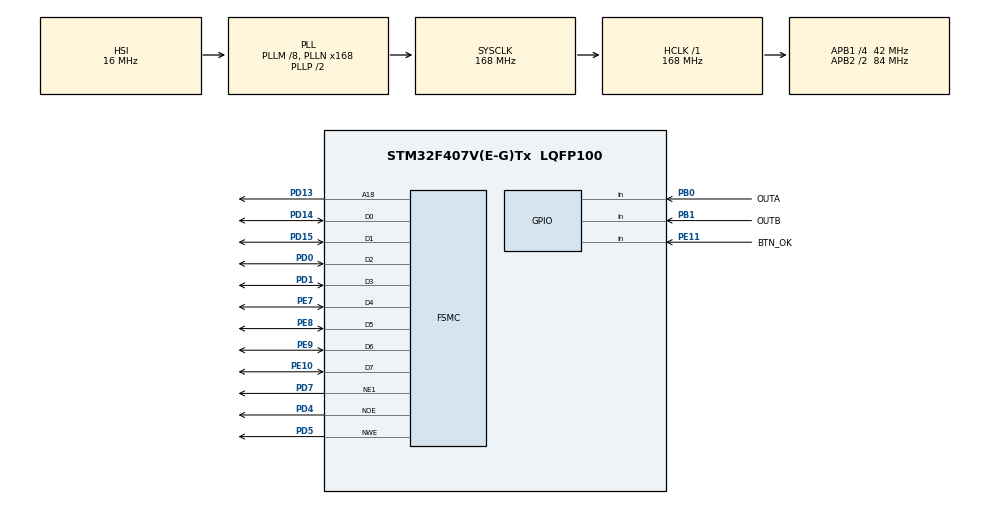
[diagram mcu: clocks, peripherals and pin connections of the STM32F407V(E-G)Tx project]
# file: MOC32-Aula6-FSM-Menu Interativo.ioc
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FSMC.AddressSetupTime1=6
FSMC.DataSetupTime1=6
Mcu.Family=STM32F4
Mcu.Name=STM32F407V(E-G)Tx
Mcu.Package=LQFP100
NVIC.PriorityGroup=NVIC_PRIORITYGROUP_4
PB0.GPIO_Label=OUTA
PB0.Signal=GPIO_Input
PB1.GPIO_Label=OUTB
PB1.Signal=GPIO_Input
PD0.Mode=8b-d1
PD0.Signal=FSMC_D2
PD1.Mode=8b-d1
PD1.Signal=FSMC_D3
PD13.Mode=A18_1
PD13.Signal=FSMC_A18
PD14.Mode=8b-d1
PD14.Signal=FSMC_D0
PD15.Mode=8b-d1
PD15.Signal=FSMC_D1
PD4.Mode=Lcd1
PD4.Signal=FSMC_NOE
PD5.Mode=Lcd1
PD5.Signal=FSMC_NWE
PD7.Mode=NorPsramChipSelect1_1
PD7.Signal=FSMC_NE1
PE10.Mode=8b-d1
PE10.Signal=FSMC_D7
PE11.GPIO_Label=BTN_OK
PE11.Signal=GPIO_Input
PE7.Mode=8b-d1
PE7.Signal=FSMC_D4
PE8.Mode=8b-d1
PE8.Signal=FSMC_D5
PE9.Mode=8b-d1
PE9.Signal=FSMC_D6
PH0-OSC_IN.Mode=HSE-External-Oscillator
PH0-OSC_IN.Signal=RCC_OSC_IN
PH1-OSC_OUT.Mode=HSE-External-Oscillator
PH1-OSC_OUT.Signal=RCC_OSC_OUT
ProjectManager.HeapSize=0x200
ProjectManager.StackSize=0x400
ProjectManager.TargetToolchain=STM32CubeIDE
RCC.48MHZClocksFreq_Value=84000000
RCC.AHBFreq_Value=168000000
RCC.APB1CLKDivider=RCC_HCLK_DIV4
RCC.APB1Freq_Value=42000000
RCC.APB1TimFreq_Value=84000000
RCC.APB2CLKDivider=RCC_HCLK_DIV2
RCC.APB2Freq_Value=84000000
RCC.APB2TimFreq_Value=168000000
RCC.CortexFreq_Value=168000000
RCC.HCLKFreq_Value=168000000
RCC.HSE_VALUE=8000000
RCC.HSI_VALUE=16000000
RCC.LSE_VALUE=32768
RCC.PLLM=8
RCC.PLLN=168
RCC.SYSCLKFreq_VALUE=168000000
RCC.SYSCLKSource=RCC_SYSCLKSOURCE_PLLCLK
RCC.VCOOutputFreq_Value=336000000
board=custom

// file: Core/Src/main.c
/* USER CODE BEGIN Header */
/**
  ******************************************************************************
  * @file           : main.c
  * @brief          : Main program body
  ******************************************************************************
  * @attention
  *
  * Copyright (c) 2023 STMicroelectronics.
  * All rights reserved.
  *
  * This software is licensed under terms that can be found in the LICENSE file
  * in the root directory of this software component.
  * If no LICENSE file comes with this software, it is provided AS-IS.
  *
  ******************************************************************************
  */
/* USER CODE END Header */
#include "main.h"

/* USER CODE BEGIN Includes */
#include "ili9341.h"
#include "common.h"
#include "fonts.h"
#include "lcd.h"
/* USER CODE END Includes */

SRAM_HandleTypeDef hsram1;

/* USER CODE BEGIN PV */
uint16_t tftID = 0;
uint32_t fsmLastMenuState;
uint32_t buttonStatus = 0;
/* USER CODE END PV */

void SystemClock_Config(void);
static void MX_GPIO_Init(void);
static void MX_FSMC_Init(void);
/* USER CODE BEGIN PFP */
void tftMenuColors(int menuColorsValue);
void tftMenuWrite(int menuWriteValue);
void encoderInit();
/* USER CODE END PFP */

/* USER CODE BEGIN 0 */
struct State {
	  uint32_t out; //Saída para o estado
	  //uint32_t wait; //Tempo de espera do estado
	  uint32_t next[5]; //Vetor de próximos estados
};
typedef const struct State tipoS;
//Apelidos para referenciar os estados da FSM
#define MENUPRINCIPAL 0
#define MENU1 1
#define MENU2 2
#define MENU3 3
#define MENU4 4

//Estrutura de dados que corresponde ao diagrama de transição de estados da FSM
tipoS Fsm[5] = {
		[MENUPRINCIPAL] =      {0,  {MENU1, MENU1, MENU2, MENU3, MENUPRINCIPAL}},
		[MENU1] =              {1,  {MENU1, MENU1, MENU1, MENU1, MENUPRINCIPAL}},
		[MENU2] =              {2,  {MENU2, MENU2, MENU2, MENU2, MENUPRINCIPAL}},
		[MENU3] =              {3,  {MENU3, MENU3, MENU3, MENU4, MENUPRINCIPAL}},
		[MENU4] =              {4,  {MENU4, MENU4, MENU4, MENU4, MENU3}}
};

uint32_t fsmMenuState; //Estado atual é Par ou �?mpar

menuWriteValue = 1;
menuColorsValue = 0;
/* USER CODE END 0 */

int main(void)
{

  /* MCU Configuration--------------------------------------------------------*/

  /* Reset of all peripherals, Initializes the Flash interface and the Systick. */
  HAL_Init();

  /* Configure the system clock */
  SystemClock_Config();

  /* Initialize all configured peripherals */
  MX_GPIO_Init();
  MX_FSMC_Init();
  /* USER CODE BEGIN 2 */
  ili9341_Init();
  ili9341_FillScreen(COLOR_BLACK);

  fsmMenuState = MENUPRINCIPAL; //Estado inicial
  tftMenuWrite(Fsm[fsmMenuState].out);
  /* USER CODE END 2 */

  /* Infinite loop */
  while (1)
  {

    /* USER CODE BEGIN 3 */
	  encoderInit();
	  //1. Saída baseada no estado atual
	  if (fsmMenuState != fsmLastMenuState)
	  {
		  tftMenuWrite(Fsm[fsmMenuState].out);
		  fsmLastMenuState = fsmMenuState;
	  }
	  //3. Lê a entrada
	  if(HAL_GPIO_ReadPin(BTN_OK_GPIO_Port, BTN_OK_Pin) == GPIO_PIN_RESET)
	  {
		  while(HAL_GPIO_ReadPin(BTN_OK_GPIO_Port, BTN_OK_Pin) == GPIO_PIN_RESET);
		  buttonStatus = menuColorsValue;
		  fsmMenuState = Fsm[fsmMenuState].next[buttonStatus];
		  tftMenuWrite(Fsm[fsmMenuState].out);
	  }
  }
  /* USER CODE END 3 */
}

void SystemClock_Config(void)
{
  RCC_OscInitTypeDef RCC_OscInitStruct = {0};
  RCC_ClkInitTypeDef RCC_ClkInitStruct = {0};

  /** Configure the main internal regulator output voltage
  */
  __HAL_RCC_PWR_CLK_ENABLE();
  __HAL_PWR_VOLTAGESCALING_CONFIG(PWR_REGULATOR_VOLTAGE_SCALE1);

  /** Initializes the RCC Oscillators according to the specified parameters
  * in the RCC_OscInitTypeDef structure.
  */
  RCC_OscInitStruct.OscillatorType = RCC_OSCILLATORTYPE_HSI;
  RCC_OscInitStruct.HSIState = RCC_HSI_ON;
  RCC_OscInitStruct.HSICalibrationValue = RCC_HSICALIBRATION_DEFAULT;
  RCC_OscInitStruct.PLL.PLLState = RCC_PLL_ON;
  RCC_OscInitStruct.PLL.PLLSource = RCC_PLLSOURCE_HSI;
  RCC_OscInitStruct.PLL.PLLM = 8;
  RCC_OscInitStruct.PLL.PLLN = 168;
  RCC_OscInitStruct.PLL.PLLP = RCC_PLLP_DIV2;
  RCC_OscInitStruct.PLL.PLLQ = 4;
  if (HAL_RCC_OscConfig(&RCC_OscInitStruct) != HAL_OK)
  {
    Error_Handler();
  }

  /** Initializes the CPU, AHB and APB buses clocks
  */
  RCC_ClkInitStruct.ClockType = RCC_CLOCKTYPE_HCLK|RCC_CLOCKTYPE_SYSCLK
                              |RCC_CLOCKTYPE_PCLK1|RCC_CLOCKTYPE_PCLK2;
  RCC_ClkInitStruct.SYSCLKSource = RCC_SYSCLKSOURCE_PLLCLK;
  RCC_ClkInitStruct.AHBCLKDivider = RCC_SYSCLK_DIV1;
  RCC_ClkInitStruct.APB1CLKDivider = RCC_HCLK_DIV4;
  RCC_ClkInitStruct.APB2CLKDivider = RCC_HCLK_DIV2;

  if (HAL_RCC_ClockConfig(&RCC_ClkInitStruct, FLASH_LATENCY_5) != HAL_OK)
  {
    Error_Handler();
  }
}

static void MX_GPIO_Init(void)
{
  GPIO_InitTypeDef GPIO_InitStruct = {0};

  /* GPIO Ports Clock Enable */
  __HAL_RCC_GPIOH_CLK_ENABLE();
  __HAL_RCC_GPIOB_CLK_ENABLE();
  __HAL_RCC_GPIOE_CLK_ENABLE();
  __HAL_RCC_GPIOD_CLK_ENABLE();

  /*Configure GPIO pins : OUTA_Pin OUTB_Pin */
  GPIO_InitStruct.Pin = OUTA_Pin|OUTB_Pin;
  GPIO_InitStruct.Mode = GPIO_MODE_INPUT;
  GPIO_InitStruct.Pull = GPIO_NOPULL;
  HAL_GPIO_Init(GPIOB, &GPIO_InitStruct);

  /*Configure GPIO pin : BTN_OK_Pin */
  GPIO_InitStruct.Pin = BTN_OK_Pin;
  GPIO_InitStruct.Mode = GPIO_MODE_INPUT;
  GPIO_InitStruct.Pull = GPIO_NOPULL;
  HAL_GPIO_Init(BTN_OK_GPIO_Port, &GPIO_InitStruct);

}

/* FSMC initialization function */
static void MX_FSMC_Init(void)
{

  FSMC_NORSRAM_TimingTypeDef Timing = {0};

  /** Perform the SRAM1 memory initialization sequence
  */
  hsram1.Instance = FSMC_NORSRAM_DEVICE;
  hsram1.Extended = FSMC_NORSRAM_EXTENDED_DEVICE;
  /* hsram1.Init */
  hsram1.Init.NSBank = FSMC_NORSRAM_BANK1;
  hsram1.Init.DataAddressMux = FSMC_DATA_ADDRESS_MUX_DISABLE;
  hsram1.Init.MemoryType = FSMC_MEMORY_TYPE_SRAM;
  hsram1.Init.MemoryDataWidth = FSMC_NORSRAM_MEM_BUS_WIDTH_8;
  hsram1.Init.BurstAccessMode = FSMC_BURST_ACCESS_MODE_DISABLE;
  hsram1.Init.WaitSignalPolarity = FSMC_WAIT_SIGNAL_POLARITY_LOW;
  hsram1.Init.WrapMode = FSMC_WRAP_MODE_DISABLE;
  hsram1.Init.WaitSignalActive = FSMC_WAIT_TIMING_BEFORE_WS;
  hsram1.Init.WriteOperation = FSMC_WRITE_OPERATION_ENABLE;
  hsram1.Init.WaitSignal = FSMC_WAIT_SIGNAL_DISABLE;
  hsram1.Init.ExtendedMode = FSMC_EXTENDED_MODE_DISABLE;
  hsram1.Init.AsynchronousWait = FSMC_ASYNCHRONOUS_WAIT_DISABLE;
  hsram1.Init.WriteBurst = FSMC_WRITE_BURST_DISABLE;
  hsram1.Init.PageSize = FSMC_PAGE_SIZE_NONE;
  /* Timing */
  Timing.AddressSetupTime = 6;
  Timing.AddressHoldTime = 15;
  Timing.DataSetupTime = 6;
  Timing.BusTurnAroundDuration = 15;
  Timing.CLKDivision = 16;
  Timing.DataLatency = 17;
  Timing.AccessMode = FSMC_ACCESS_MODE_A;
  /* ExtTiming */

  if (HAL_SRAM_Init(&hsram1, &Timing, NULL) != HAL_OK)
  {
    Error_Handler( );
  }

}

/* USER CODE BEGIN 4 */
void tftMenuColors(int menuColorsValue)
{
	switch (menuColorsValue)
	{
	case 1:
		ili9341_FillRect(20, 20, 200, 50, COLOR_GREEN);
		break;
	case 2:
		ili9341_FillRect(20, 90, 200, 50, COLOR_GREEN);
		break;
	case 3:
		ili9341_FillRect(20, 160, 200, 50, COLOR_GREEN);
		break;
	case 4:
		ili9341_FillRect(20, 230, 200, 50, COLOR_GREEN);
		break;
	}
}

void tftMenuWrite(int menuWriteValue)
{
	switch (menuWriteValue)
	{
	case 0:
		ili9341_FillRect(20, 20, 200, 50, COLOR_CYAN);
		ili9341_FillRect(20, 90, 200, 50, COLOR_CYAN);
		ili9341_FillRect(20, 160, 200, 50, COLOR_CYAN);
		ili9341_FillRect(20, 230, 200, 50, COLOR_CYAN);
		tftMenuColors(menuColorsValue);
		tftWriteText(80, 50, COLOR_BLACK, &mono12x7bold, 1, (uint8_t *)"MENU 1");
		tftWriteText(80, 120, COLOR_BLACK, &mono12x7bold, 1, (uint8_t *)"MENU 2");
		tftWriteText(80, 190, COLOR_BLACK, &mono12x7bold, 1, (uint8_t *)"MENU 3");
		tftWriteText(80, 255, COLOR_BLACK, &mono12x7bold, 1, (uint8_t *)"VOLTAR");
		break;
	case 1:
		ili9341_FillRect(20, 20, 200, 50, COLOR_YELLOW);
		ili9341_FillRect(20, 90, 200, 50, COLOR_YELLOW);
		ili9341_FillRect(20, 160, 200, 50, COLOR_YELLOW);
		ili9341_FillRect(20, 230, 200, 50, COLOR_YELLOW);
		tftMenuColors(menuColorsValue);
		tftWriteText(50, 50, COLOR_BLACK, &mono12x7bold, 1, (uint8_t *)"MENU 1 - A");
		tftWriteText(50, 120, COLOR_BLACK, &mono12x7bold, 1, (uint8_t *)"MENU 1 - B");
		tftWriteText(50, 190, COLOR_BLACK, &mono12x7bold, 1, (uint8_t *)"MENU 1 - C");
		tftWriteText(80, 255, COLOR_BLACK, &mono12x7bold, 1, (uint8_t *)"VOLTAR");
		break;
	case 2:
		ili9341_FillRect(20, 20, 200, 50, COLOR_BLUE);
		ili9341_FillRect(20, 90, 200, 50, COLOR_BLUE);
		ili9341_FillRect(20, 160, 200, 50, COLOR_BLUE);
		ili9341_FillRect(20, 230, 200, 50, COLOR_BLUE);
		tftMenuColors(menuColorsValue);
		tftWriteText(50, 50, COLOR_BLACK, &mono12x7bold, 1, (uint8_t *)"MENU 2 - A");
		tftWriteText(50, 120, COLOR_BLACK, &mono12x7bold, 1, (uint8_t *)"MENU 2 - B");
		tftWriteText(50, 190, COLOR_BLACK, &mono12x7bold, 1, (uint8_t *)"MENU 2 - C");
		tftWriteText(80, 255, COLOR_BLACK, &mono12x7bold, 1, (uint8_t *)"VOLTAR");
		break;
	case 3:
		ili9341_FillRect(20, 20, 200, 50, COLOR_RED);
		ili9341_FillRect(20, 90, 200, 50, COLOR_RED);
		ili9341_FillRect(20, 160, 200, 50, COLOR_RED);
		ili9341_FillRect(20, 230, 200, 50, COLOR_RED);
		tftMenuColors(menuColorsValue);
		tftWriteText(50, 50, COLOR_BLACK, &mono12x7bold, 1, (uint8_t *)"MENU 3 - A");
		tftWriteText(50, 120, COLOR_BLACK, &mono12x7bold, 1, (uint8_t *)"MENU 3 - B");
		tftWriteText(50, 190, COLOR_BLACK, &mono12x7bold, 1, (uint8_t *)"MENU 3 - C");
		tftWriteText(80, 255, COLOR_BLACK, &mono12x7bold, 1, (uint8_t *)"VOLTAR");
		break;
	case 4:
		ili9341_FillRect(20, 20, 200, 50, COLOR_RED);
		ili9341_FillRect(20, 90, 200, 50, COLOR_RED);
		ili9341_FillRect(20, 160, 200, 50, COLOR_RED);
		ili9341_FillRect(20, 230, 200, 50, COLOR_RED);
		tftMenuColors(menuColorsValue);
		tftWriteText(40, 50, COLOR_BLACK, &mono12x7bold, 1, (uint8_t *)"MENU 3 - CA");
		tftWriteText(40, 120, COLOR_BLACK, &mono12x7bold, 1, (uint8_t *)"MENU 3 - CB");
		tftWriteText(40, 190, COLOR_BLACK, &mono12x7bold, 1, (uint8_t *)"MENU 3 - CC");
		tftWriteText(80, 255, COLOR_BLACK, &mono12x7bold, 1, (uint8_t *)"VOLTAR");
		break;
	}
}

void encoderInit()
{
	if (HAL_GPIO_ReadPin(OUTA_GPIO_Port, OUTA_Pin) == GPIO_PIN_RESET)  // If the OUTA is RESET
	{
		if (HAL_GPIO_ReadPin(OUTA_GPIO_Port, OUTB_Pin) == GPIO_PIN_RESET)  // If OUTB is also reset... CCK
		{
			while (HAL_GPIO_ReadPin(OUTA_GPIO_Port, OUTB_Pin) == GPIO_PIN_RESET){};  // wait for the OUTB to go high
			menuColorsValue--;
			while (HAL_GPIO_ReadPin(OUTA_GPIO_Port, OUTA_Pin) == GPIO_PIN_RESET){};  // wait for the OUTA to go high
			if (menuColorsValue <= 1){menuColorsValue = 1;}
			if (menuColorsValue >= 4){menuColorsValue = 4;}
			tftMenuColors(menuColorsValue);
			tftMenuWrite(Fsm[fsmMenuState].out);
			HAL_Delay (10);  // wait for some more time
		}

		else if (HAL_GPIO_ReadPin(OUTA_GPIO_Port, OUTB_Pin) == GPIO_PIN_SET)  // If OUTB is also set
		{
			while (HAL_GPIO_ReadPin(OUTA_GPIO_Port, OUTB_Pin) == GPIO_PIN_SET){};  // wait for the OUTB to go LOW.. CK
			menuColorsValue++;
			while (HAL_GPIO_ReadPin(OUTA_GPIO_Port, OUTA_Pin) == GPIO_PIN_RESET){};  // wait for the OUTA to go high
			while (HAL_GPIO_ReadPin(OUTA_GPIO_Port, OUTB_Pin) == GPIO_PIN_RESET){};  // wait for the OUTB to go high
			if (menuColorsValue <= 1){menuColorsValue = 1;}
			if (menuColorsValue >= 4){menuColorsValue = 4;}
			tftMenuColors(menuColorsValue);
			tftMenuWrite(Fsm[fsmMenuState].out);
			HAL_Delay (10);  // wait for some more time
		}
		//uint8_t MSG[48] = {"\0"};
		//sprintf(MSG, "menuColorsValue: %d\r\n", menuColorsValue);
		//(&huart2, MSG, sizeof(MSG), 10);
	}
}
/* USER CODE END 4 */

void Error_Handler(void)
{
  __disable_irq();
  while (1)
  {
  }
}
